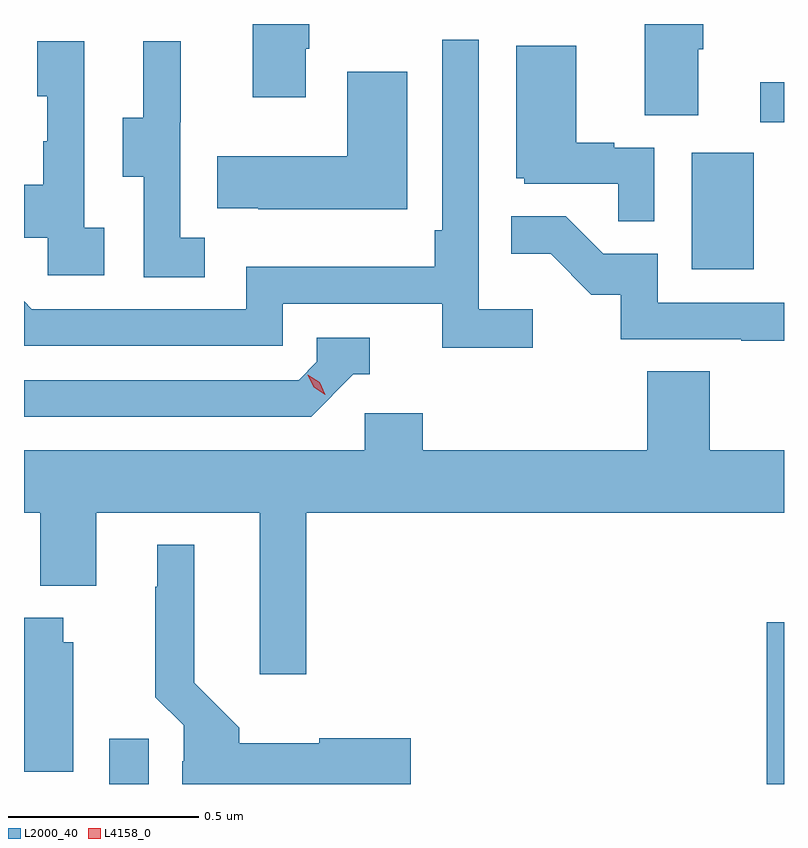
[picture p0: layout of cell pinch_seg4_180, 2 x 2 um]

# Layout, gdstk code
import gdstk
lib = gdstk.Library(unit=1e-6, precision=1e-09)
def R(c, l, rs):  # rectangles x0, y0, x1, y1
    for r in rs: c.add(gdstk.rectangle(r[:2], r[2:], *l))
def P(c, l, *ps):  # polygons
    for p in ps: c.add(gdstk.Polygon(p, *l))
L2000_40 = (2000, 40)
L4158_0 = (4158, 0)

pinch_seg4_180 = lib.new_cell('pinch_seg4_180')
R(pinch_seg4_180, L2000_40, [(1112.879,796.106,1112.983,796.225), (1114.609,796.106,1114.655,796.532), (1114.412,797.46,1114.576,797.767), (1114.593,797.847,1114.655,797.953)])
P(pinch_seg4_180, L2000_40, [(1114.429,798.04),(1114.442,798.04),(1114.442,798.106),(1114.289,798.106),(1114.289,797.866),(1114.429,797.866)],
  [(1113.397,798.041),(1113.405,798.041),(1113.405,798.106),(1113.257,798.106),(1113.257,797.913),(1113.397,797.913)],
  [(1113.994,797.356),(1113.852,797.356),(1113.852,798.064),(1113.756,798.064),(1113.756,797.563),(1113.736,797.563),(1113.736,797.467),(1113.24,797.467),(1113.24,797.355),(1112.676,797.355),(1112.655,797.376),(1112.655,797.259),(1113.336,797.259),(1113.336,797.37),(1113.755,797.37),(1113.755,797.254),(1113.994,797.254)],
  [(1112.866,797.57),(1112.814,797.57),(1112.814,798.061),(1112.69,798.061),(1112.69,797.916),(1112.716,797.916),(1112.716,797.798),(1112.706,797.798),(1112.706,797.683),(1112.655,797.683),(1112.655,797.543),(1112.718,797.543),(1112.718,797.445),(1112.866,797.445)],
  [(1113.13,797.543),(1113.066,797.543),(1113.066,797.847),(1113.068,797.847),(1113.068,798.061),(1112.969,798.061),(1112.969,797.859),(1112.915,797.859),(1112.915,797.704),(1112.97,797.704),(1112.97,797.44),(1113.13,797.44)],
  [(1114.314,797.781),(1114.208,797.781),(1114.208,797.794),(1114.108,797.794),(1114.108,798.049),(1113.95,798.049),(1113.95,797.7),(1113.972,797.7),(1113.972,797.685),(1114.219,797.685),(1114.219,797.587),(1114.314,797.587)],
  [(1113.664,797.98),(1113.506,797.98),(1113.506,797.758),(1113.163,797.758),(1113.163,797.621),(1113.271,797.621),(1113.271,797.618),(1113.664,797.618)],
  [(1114.655,797.373),(1114.323,797.373),(1114.323,797.502),(1114.179,797.502),(1114.081,797.6),(1113.937,797.6),(1113.937,797.501),(1114.041,797.501),(1114.148,797.394),(1114.225,797.394),(1114.225,797.277),(1114.543,797.277),(1114.543,797.272),(1114.655,797.272)],
  [(1113.522,797.184),(1113.565,797.184),(1113.565,797.28),(1113.426,797.28),(1113.426,797.217),(1113.378,797.169),(1112.655,797.169),(1112.655,797.073),(1113.411,797.073)],
  [(1113.398,796.82),(1114.655,796.82),(1114.655,796.984),(1114.46,796.984),(1114.46,797.192),(1114.295,797.192),(1114.295,796.984),(1113.704,796.984),(1113.704,797.082),(1113.552,797.082),(1113.552,796.984),(1112.655,796.984),(1112.655,796.82),(1112.698,796.82),(1112.698,796.628),(1112.845,796.628),(1112.845,796.82),(1113.275,796.82),(1113.275,796.395),(1113.398,796.395)],
  [(1113.673,796.226),(1113.432,796.226),(1113.432,796.213),(1113.221,796.213),(1113.221,796.254),(1113.103,796.372),(1113.103,796.735),(1113.005,796.735),(1113.005,796.625),(1113.001,796.625),(1113.001,796.334),(1113.075,796.26),(1113.075,796.166),(1113.071,796.166),(1113.071,796.106),(1113.673,796.106)],
  [(1112.785,796.479),(1112.758,796.479),(1112.758,796.543),(1112.655,796.543),(1112.655,796.138),(1112.785,796.138)])
P(pinch_seg4_180, L4158_0, [(1113.448,797.13),(1113.418,797.15),(1113.402,797.183),(1113.402,797.183),(1113.402,797.183),(1113.433,797.163),(1113.448,797.13),(1113.448,797.13)])

lib.write_gds('pinch_seg4_180.gds')
